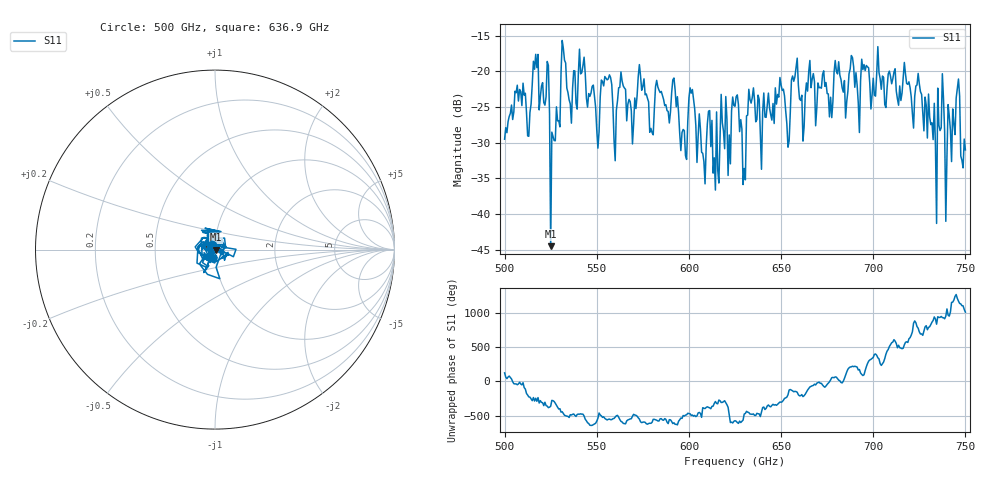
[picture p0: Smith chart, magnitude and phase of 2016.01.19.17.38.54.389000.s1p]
!Created with skrf (http://scikit-rf.org).
# GHz S RI R 50.0
!freq ReS11 ImS11
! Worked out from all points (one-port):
!   401 points, 500 GHz to 750 GHz, reference 50 ohm
!   lowest |S11| = -44.5 dB at 525 GHz (marker M1), VSWR 1.01, Z = 50.6 - j0.00845 ohm
!   |S11| at or under -10 dB: start of sweep to end of sweep
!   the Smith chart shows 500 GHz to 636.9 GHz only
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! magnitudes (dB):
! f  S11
! 500 GHz  -29.5
! 506.9 GHz  -22.0
! 513.1 GHz  -29.1
! 516.9 GHz  -17.6
! 523.1 GHz  -18.6
! 525 GHz  -44.5
! 526.2 GHz  -29.1
! 531.2 GHz  -15.7
! 535.6 GHz  -24.6
! 541.9 GHz  -20.2
! 550 GHz  -28.2
! 562.5 GHz  -22.3
! 593.8 GHz  -23.6
! 597.5 GHz  -28.3
! 601.2 GHz  -23.1
! 615 GHz  -25.7
! 625 GHz  -24.9
! 629.4 GHz  -35.9
! 633.8 GHz  -24.5
! 640 GHz  -25.8
! 650.6 GHz  -22.7
! 653.8 GHz  -30.6
! 656.2 GHz  -20.7
! 687.5 GHz  -19.7
! 718.8 GHz  -21.8
! 733.1 GHz  -24.5
! 745.6 GHz  -22.4
! 750 GHz  -31.0
